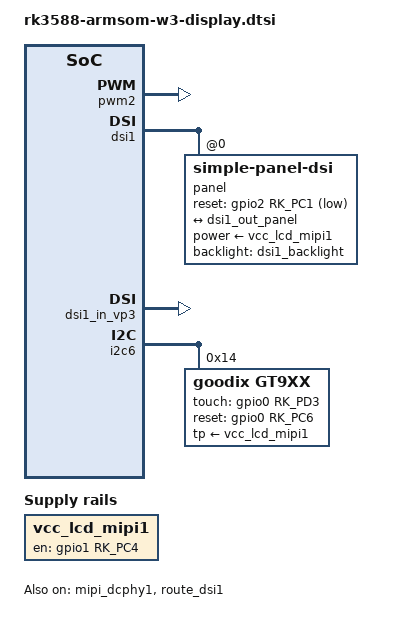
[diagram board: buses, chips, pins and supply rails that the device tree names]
/dts-v1/;
/plugin/;

/ {
	fragment@0 {
		target = <&vcc_lcd_mipi1>;
		__overlay__ {
			compatible = "regulator-fixed";
			regulator-name = "vcc_lcd_mipi1";
			gpio = <&gpio1 RK_PC4 GPIO_ACTIVE_HIGH>;
			enable-active-high;
			regulator-boot-on;
			regulator-state-mem {
				regulator-off-in-suspend;
			};
		};
	};

	fragment@1 {
		target = <&pwm2>;
		__overlay__ {
			status = "okay";
			pinctrl-names = "active";
			pinctrl-0 = <&pwm2m2_pins>;
		};
	};

	fragment@2 {
		target = <&dsi1>;
		__overlay__ {
			status = "okay";
			panel@0 {
				compatible = "simple-panel-dsi";
				reg = <0>;
				power-supply = <&vcc_lcd_mipi1>;
				reset-gpios = <&gpio2 RK_PC1 GPIO_ACTIVE_LOW>;
				backlight = <&dsi1_backlight>;
				pinctrl-names = "default";
				pinctrl-0 = <&dsi1_lcd_rst_gpio>;
				reset-delay-ms = <10>;
				enable-delay-ms = <10>;
				prepare-delay-ms = <10>;
				unprepare-delay-ms = <10>;
				disable-delay-ms = <10>;
				dsi,flags = <(MIPI_DSI_MODE_VIDEO | MIPI_DSI_MODE_VIDEO_BURST | MIPI_DSI_MODE_LPM | MIPI_DSI_MODE_EOT_PACKET)>;
				dsi,format = <MIPI_DSI_FMT_RGB888>;
				dsi,lanes  = <4>;
				panel-init-sequence = [ /* Init sequence */ ];
				panel-exit-sequence = [ /* Exit sequence */ ];
				
				display-timings {
					native-mode = <&dsi1_timing0>;
					dsi1_timing0: timing0 {
						clock-frequency = <160000000>;
						hactive = <1200>;
						vactive = <1920>;
						hfront-porch = <80>;
						hsync-len = <1>;
						hback-porch = <60>;
						vfront-porch = <35>;
						vsync-len = <1>;
						vback-porch = <25>;
						hsync-active = <0>;
						vsync-active = <0>;
						de-active = <0>;
						pixelclk-active = <1>;
					};
				};
				
				ports {
					#address-cells = <1>;
					#size-cells = <0>;

					port@0 {
						reg = <0>;
						panel_in_dsi1: endpoint {
							remote-endpoint = <&dsi1_out_panel>;
						};
					};
				};
			};
		};
	};

	fragment@3 {
		target = <&mipi_dcphy1>;
		__overlay__ {
			status = "okay";
		};
	};

	fragment@4 {
		target = <&route_dsi1>;
		__overlay__ {
			status = "okay";
			connect = <&vp3_out_dsi1>;
		};
	};

	fragment@5 {
		target = <&dsi1_in_vp3>;
		__overlay__ {
			status = "okay";
		};
	};

	fragment@6 {
		target = <&i2c6>;
		__overlay__ {
			status = "okay";
			gt9xx: gt9xx@14 {
				compatible = "goodix,gt9xx";
				reg = <0x14>;
				pinctrl-names = "default";
				pinctrl-0 = <&gt9xx_gpio>;
				touch-gpio = <&gpio0 RK_PD3 IRQ_TYPE_LEVEL_HIGH>;
				reset-gpio = <&gpio0 RK_PC6 GPIO_ACTIVE_HIGH>;
				max-x = <1200>;
				max-y = <1920>;
				tp-size = <89>;
				tp-supply = <&vcc_lcd_mipi1>;
				configfile-num = <1>;
			};
		};
	};

	fragment@7 {
		target-path = "/pinctrl";
		__overlay__ {
			dsi1-lcd {
				dsi1_lcd_rst_gpio: dsi1-lcd-rst-gpio {
					rockchip,pins = <2 RK_PC1 RK_FUNC_GPIO &pcfg_pull_up>;
				};

				dsi1_backlight_en: dsi1-backlight-en {
					rockchip,pins = <2 RK_PC2 RK_FUNC_GPIO &pcfg_pull_up>;
				};
			};

			gt9xx {
				gt9xx_gpio: gt9xx-gpio {
					rockchip,pins = <0 RK_PC6 RK_FUNC_GPIO &pcfg_pull_none>, <0 RK_PD3 RK_FUNC_GPIO &pcfg_pull_up>;
				};
			};
			
			focaltech {
				focaltech_gpio: focaltech-gpio {
					rockchip,pins = <0 RK_PC6 RK_FUNC_GPIO &pcfg_pull_none>, <0 RK_PD3 RK_FUNC_GPIO &pcfg_pull_up>;
				};
			};
		};
	};
};
